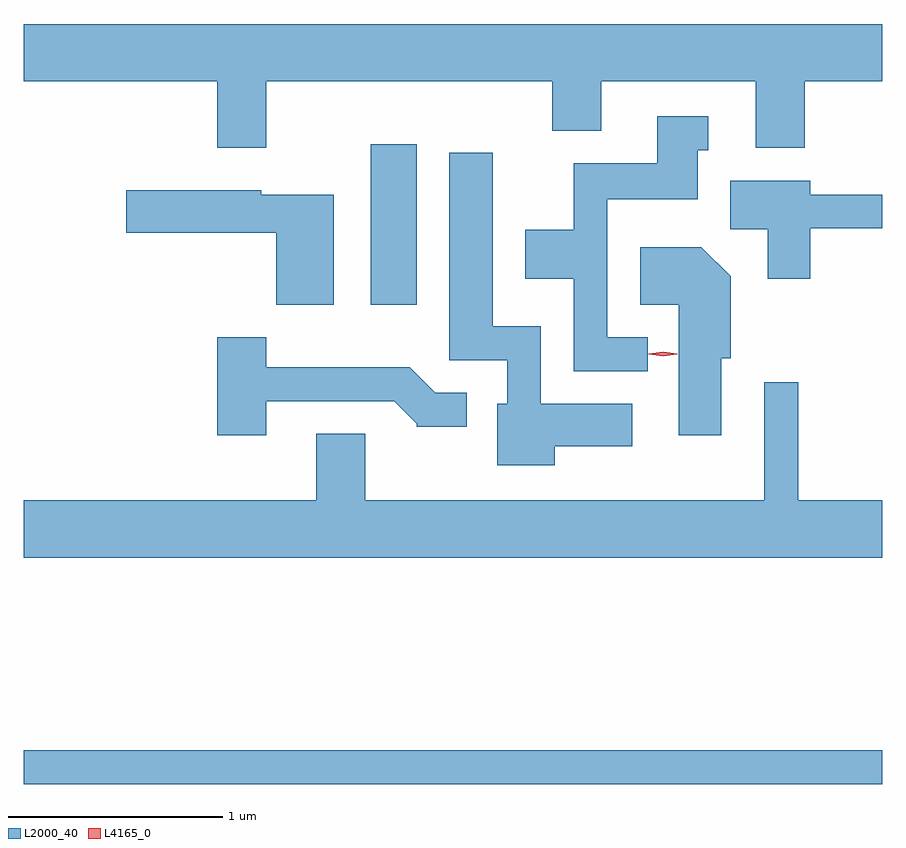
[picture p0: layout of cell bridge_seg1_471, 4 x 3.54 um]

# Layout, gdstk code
import gdstk
lib = gdstk.Library(unit=1e-6, precision=1e-09)
def R(c, l, rs):  # rectangles x0, y0, x1, y1
    for r in rs: c.add(gdstk.rectangle(r[:2], r[2:], *l))
def P(c, l, *ps):  # polygons
    for p in ps: c.add(gdstk.Polygon(p, *l))
L2000_40 = (2000, 40)
L4165_0 = (4165, 0)

bridge_seg1_471 = lib.new_cell('bridge_seg1_471')
R(bridge_seg1_471, L2000_40, [(478.969,900.741,482.969,900.899), (480.586,902.976,480.799,903.724)])
P(bridge_seg1_471, L2000_40, [(480.099,904.016),(481.431,904.016),(481.431,903.786),(481.659,903.786),(481.659,904.016),(482.381,904.016),(482.381,903.706),(482.609,903.706),(482.609,904.016),(482.969,904.016),(482.969,904.284),(478.969,904.284),(478.969,904.016),(479.871,904.016),(479.871,903.706),(480.099,903.706)],
  [(481.878,902.824),(481.689,902.824),(481.689,903.466),(482.109,903.466),(482.109,903.696),(482.158,903.696),(482.158,903.854),(481.921,903.854),(481.921,903.634),(481.531,903.634),(481.531,903.324),(481.306,903.324),(481.306,903.096),(481.531,903.096),(481.531,902.666),(481.878,902.666)],
  [(481.444,902.316),(481.804,902.316),(481.804,902.514),(481.379,902.514),(481.379,902.874),(481.154,902.874),(481.154,903.684),(480.951,903.684),(480.951,902.716),(481.221,902.716),(481.221,902.514),(481.176,902.514),(481.176,902.226),(481.444,902.226)],
  [(482.634,903.331),(482.969,903.331),(482.969,903.489),(482.634,903.489),(482.634,903.554),(482.261,903.554),(482.261,903.326),(482.436,903.326),(482.436,903.096),(482.634,903.096)],
  [(480.414,903.489),(480.074,903.489),(480.074,903.509),(479.446,903.509),(479.446,903.311),(480.146,903.311),(480.146,902.976),(480.414,902.976)],
  [(482.219,902.726),(482.264,902.726),(482.264,903.107),(482.127,903.244),(481.841,903.244),(481.841,902.976),(482.021,902.976),(482.021,902.366),(482.219,902.366)],
  [(480.099,902.526),(480.694,902.526),(480.8,902.42),(480.8,902.406),(481.033,902.406),(481.033,902.564),(480.887,902.564),(480.767,902.684),(480.099,902.684),(480.099,902.824),(479.871,902.824),(479.871,902.366),(480.099,902.366)],
  [(482.969,902.064),(482.579,902.064),(482.579,902.613),(482.421,902.613),(482.421,902.064),(480.559,902.064),(480.559,902.374),(480.331,902.374),(480.331,902.064),(478.969,902.064),(478.969,901.796),(482.969,901.796)])
P(bridge_seg1_471, L4165_0, [(481.948,902.736),(481.882,902.745),(481.882,902.746),(481.882,902.746),(481.948,902.756),(482.015,902.746),(482.015,902.746),(482.015,902.745)])

lib.write_gds('bridge_seg1_471.gds')
